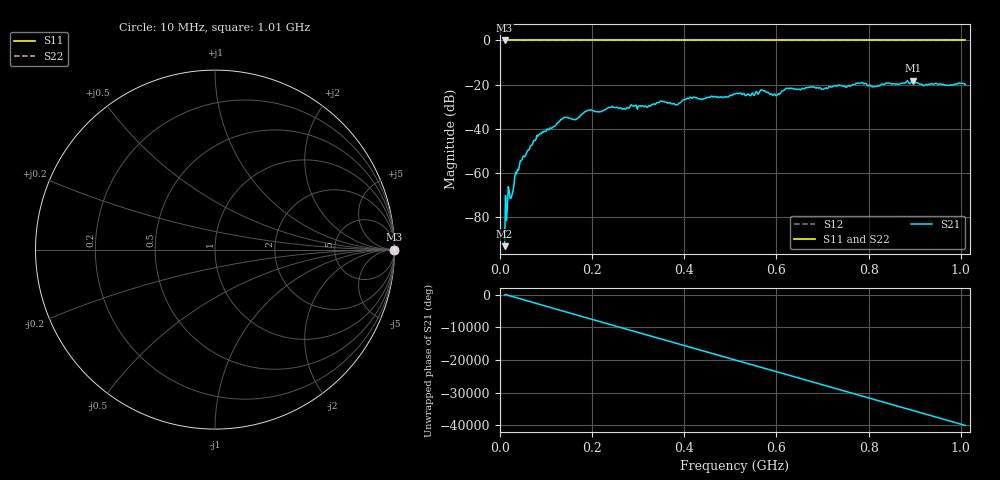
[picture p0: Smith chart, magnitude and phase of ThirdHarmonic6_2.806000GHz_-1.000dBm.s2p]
! 8/17/2025 7:20:37 AM
! C:\ANRITSUVNA\TEMP\TEMP.S2P
! CHANNEL.1
! TR.MEASUREMENT
! RAW.DATA
! RF.CORRECTION.OFF
! AVERAGING.OFF
! IF.BANDWIDTH: 5KHZ
! SWEEPTYPE:  FREQ.SWEEP(Linear)
! Reference Plane Port Info
! PORT:  PORT1  PORT2
! DISTANCE:  0  m  0  m
! TIME:  0  s  0  s
! PHASE.OFFSET:  0  deg.  0  deg.
! LOSS:  0  dB  0  dB
! REF.LOSS:  0  dB  0  dB
! REF.FREQ:  0  Hz  0  Hz
! Power Info
! POWER:  -20  dBm  -20  dBm
! EFF.POWER:  -20  dBm  -20  dBm
! SOURCE.ATTEN:  0  dB  0  dB
! TEST.ATTEN:  0  dB  0  dB
# GHZ S RI R 50.0
! FREQ.GHZ  S11RE  S11IM  S21RE  S21IM  S12RE  S12IM  S22RE  S22IM
!; PortSelection: Port_12
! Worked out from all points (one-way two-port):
!   501 points, 10 MHz to 1.01 GHz, reference 50 ohm
!   highest |S21| = -18.14 dB at 896 MHz (marker M1); lowest = -93.1 dB at 10 MHz (marker M2)
!   lowest |S11| = 0.0 dB at 10 MHz (marker M3)
!   |S11| at or under -10 dB: nowhere
!   |S22| runs from 0.0 to 0.0 dB; largest |S21 - S12| = 1.1
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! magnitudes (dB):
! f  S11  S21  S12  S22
! 10 MHz  0.0  -93.1  0.0  0.0
! 16 MHz  0.0  -75.0  0.0  0.0
! 26 MHz  0.0  -69.8  0.0  0.0
! 34 MHz  0.0  -59.6  0.0  0.0
! 46 MHz  0.0  -54.4  0.0  0.0
! 78 MHz  0.0  -44.8  0.0  0.0
! 136 MHz  0.0  -35.4  0.0  0.0
! 164 MHz  0.0  -35.9  0.0  0.0
! 178 MHz  0.0  -33.3  0.0  0.0
! 194 MHz  0.0  -31.5  0.0  0.0
! 322 MHz  0.0  -29.8  0.0  0.0
! 344 MHz  0.0  -28.2  0.0  0.0
! 384 MHz  0.0  -29.1  0.0  0.0
! 410 MHz  0.0  -26.4  0.0  0.0
! 510 MHz  0.0  -24.2  0.0  0.0
! 570 MHz  0.0  -22.7  0.0  0.0
! 596 MHz  0.0  -24.2  0.0  0.0
! 624 MHz  0.0  -21.7  0.0  0.0
! 678 MHz  0.0  -21.2  0.0  0.0
! 844 MHz  0.0  -19.3  0.0  0.0
! 896 MHz  0.0  -18.1  0.0  0.0
! 1.01 GHz  0.0  -20.0  0.0  0.0
